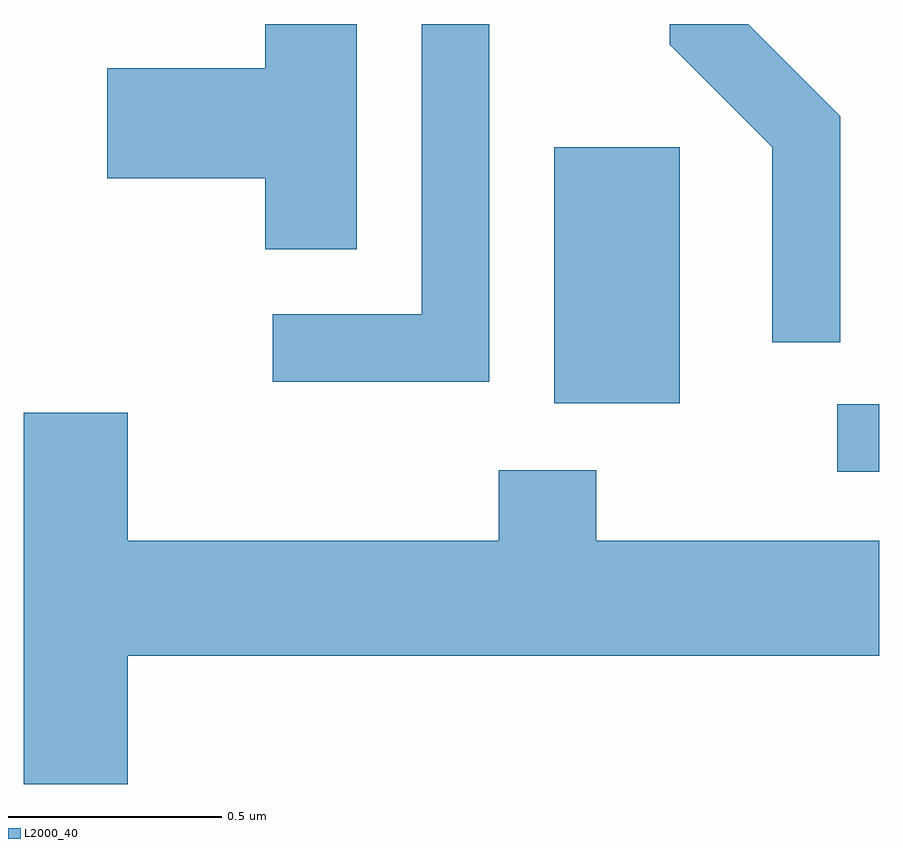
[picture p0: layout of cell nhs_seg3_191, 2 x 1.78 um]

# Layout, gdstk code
import gdstk
lib = gdstk.Library(unit=1e-6, precision=1e-09)
def R(c, l, rs):  # rectangles x0, y0, x1, y1
    for r in rs: c.add(gdstk.rectangle(r[:2], r[2:], *l))
def P(c, l, *ps):  # polygons
    for p in ps: c.add(gdstk.Polygon(p, *l))
L2000_40 = (2000, 40)

nhs_seg3_191 = lib.new_cell('nhs_seg3_191')
R(nhs_seg3_191, L2000_40, [(188.513,1170.846,188.611,1171.004), (187.851,1171.006,188.144,1171.604)])
P(nhs_seg3_191, L2000_40, [(187.389,1171.892),(187.176,1171.892),(187.176,1171.789),(186.806,1171.789),(186.806,1171.531),(187.176,1171.531),(187.176,1171.366),(187.389,1171.366)],
  [(187.699,1171.892),(187.541,1171.892),(187.541,1171.214),(187.193,1171.214),(187.193,1171.056),(187.699,1171.056)],
  [(188.519,1171.677),(188.304,1171.892),(188.121,1171.892),(188.121,1171.844),(188.361,1171.604),(188.361,1171.148),(188.519,1171.148)],
  [(186.854,1170.416),(188.611,1170.416),(188.611,1170.684),(187.949,1170.684),(187.949,1170.849),(187.721,1170.849),(187.721,1170.684),(186.854,1170.684),(186.854,1170.984),(186.611,1170.984),(186.611,1170.116),(186.854,1170.116)])

lib.write_gds('nhs_seg3_191.gds')
